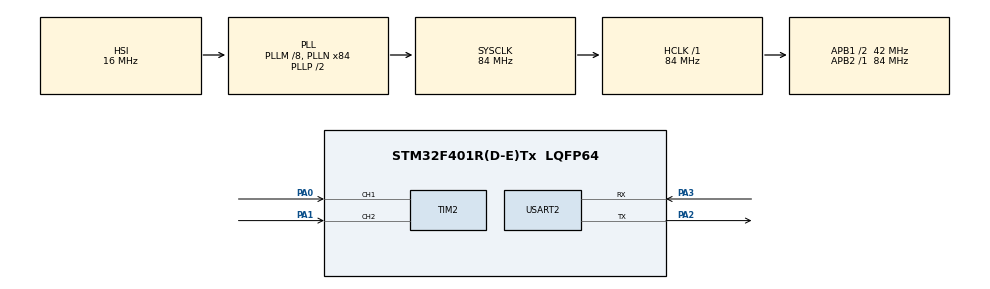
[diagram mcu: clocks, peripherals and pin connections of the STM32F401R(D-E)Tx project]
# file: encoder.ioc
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Mcu.Family=STM32F4
Mcu.Name=STM32F401R(D-E)Tx
Mcu.Package=LQFP64
NVIC.PriorityGroup=NVIC_PRIORITYGROUP_4
PA0-WKUP.Signal=S_TIM2_CH1_ETR
PA1.Signal=S_TIM2_CH2
PA2.Mode=Asynchronous
PA2.Signal=USART2_TX
PA3.Mode=Asynchronous
PA3.Signal=USART2_RX
ProjectManager.HeapSize=0x200
ProjectManager.StackSize=0x400
ProjectManager.TargetToolchain=EWARM V8.50
RCC.48MHZClocksFreq_Value=42000000
RCC.AHBFreq_Value=84000000
RCC.APB1CLKDivider=RCC_HCLK_DIV2
RCC.APB1Freq_Value=42000000
RCC.APB1TimFreq_Value=84000000
RCC.APB2Freq_Value=84000000
RCC.APB2TimFreq_Value=84000000
RCC.CortexFreq_Value=84000000
RCC.HCLKFreq_Value=84000000
RCC.HSE_VALUE=25000000
RCC.HSI_VALUE=16000000
RCC.LSE_VALUE=32768
RCC.PLLM=8
RCC.PLLN=84
RCC.SYSCLKFreq_VALUE=84000000
RCC.SYSCLKSource=RCC_SYSCLKSOURCE_PLLCLK
RCC.VCOOutputFreq_Value=168000000
SH.S_TIM2_CH1_ETR.0=TIM2_CH1,Encoder_Interface
SH.S_TIM2_CH2.0=TIM2_CH2,Encoder_Interface
TIM2.EncoderMode=TIM_ENCODERMODE_TI12
TIM2.IC1Filter=15
TIM2.IC2Filter=15
USART2.VirtualMode=VM_ASYNC
board=custom

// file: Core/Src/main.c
/* Texas A&M University
** Electronic Systems Engineering Technology
** ESET-469 Embedded Real Time Software Development
** Author: Squish Therapy
** File: main.c
** --------
** Real-time optical encoder decoding, state machine, and 100 Hz binary
** telemetry packet generation for the FlexSense rehabilitation device.
*/

#include "main.h"

/* USER CODE BEGIN Includes */
#include <math.h>
#include <stdio.h>
#include <string.h>
#include <strings.h>
/* USER CODE END Includes */

/* USER CODE BEGIN PTD */

/*
** System State Machine enumeration.
** SYS_STATE_IDLE: Awaiting host command; no transmission.
** SYS_STATE_STREAMING: Streaming 24-byte binary telemetry at 100 Hz.
*/
typedef enum { SYS_STATE_IDLE = 0, SYS_STATE_STREAMING = 1 } SystemState_t;

/*
** Packed 24-byte binary telemetry packet structure.
** Little-Endian layout for ARM Cortex-M and x86 host compatibility.
*/
#pragma pack(push, 1)
typedef struct {
  uint8_t preamble[2];   /* Sync bytes: 0xAA, 0x55                        */
  uint32_t timestamp_ms; /* System uptime from HAL_GetTick() in ms        */
  float angle_deg;       /* Joint angle in degrees from rotary encoder    */
  float velocity_deg_s;  /* Filtered angular velocity in degrees/second   */
  float load_cell;       /* Handle load cell force (reserved, 0.0f)       */
  float motor_iq_a;      /* Motor q-axis current in Amps (reserved, 0.0f) */
  uint16_t crc16;        /* CRC-16-CCITT across bytes 0..21               */
} TelemetryPacket_t;
#pragma pack(pop)

/* Compile-time verification of packed structure size */
_Static_assert(sizeof(TelemetryPacket_t) == 24,
               "TelemetryPacket_t must be exactly 24 bytes!");

/* USER CODE END PTD */

/* USER CODE BEGIN PD */
#define ENCODER_CPR 2400 /* Counts per revolution (4X mode on 600 PPR) */
#define DEG_PER_COUNT (360.0f / (float)ENCODER_CPR)
#define SERIAL_INTERVAL_MS 10  /* Telemetry interval in ms (100 Hz stream)   */
#define VEL_WINDOW_SIZE 5      /* 5 taps = 40 ms window for smooth derivative */
#define VEL_FILTER_ALPHA 0.25f /* EMA filter coefficient for velocity         */
#define VEL_DEADBAND_DEG_S 0.2f /* Velocity cutoff threshold to snap to zero  */
#define PKT_PREAMBLE_0 0xAA /* First sync byte of telemetry frame         */
#define PKT_PREAMBLE_1 0x55 /* Second sync byte of telemetry frame        */
#define PKT_SIZE_BYTES 24   /* Total binary packet size in bytes          */
#define CMD_BUF_SIZE 32     /* UART ASCII command buffer capacity         */
#define TX_BUF_SIZE 128     /* UART diagnostic string buffer capacity     */
#define UART_TIMEOUT_MS 10  /* Blocking UART transmit timeout (ms)        */
#define UART_STATUS_TIMEOUT_MS                                                 \
  50 /* Status string UART transmit timeout (ms)   */
/* USER CODE END PD */

TIM_HandleTypeDef htim2;
UART_HandleTypeDef huart2;

/* USER CODE BEGIN PV */
static volatile SystemState_t sys_state = SYS_STATE_IDLE;
static int32_t last_count = 0;
static float last_angle = 0.0f;
static float filtered_velocity = 0.0f;
static uint32_t last_tick = 0;
static char tx_buf[TX_BUF_SIZE];
static char cmd_buf[CMD_BUF_SIZE];
static uint8_t cmd_idx = 0;

/* Circular history buffer for windowed velocity differentiation */
static int32_t pos_history[VEL_WINDOW_SIZE];
static uint32_t time_history[VEL_WINDOW_SIZE];
static uint8_t hist_idx = 0;
static uint8_t hist_count = 0;
/* USER CODE END PV */

void SystemClock_Config(void);
static void MX_GPIO_Init(void);
static void MX_TIM2_Init(void);
static void MX_USART2_UART_Init(void);

/* USER CODE BEGIN PFP */
static void Encoder_Start(void);
static int32_t Encoder_Read(void);
static void Serial_SendLine(const char *str);
static void Process_Serial_Commands(void);
static void Execute_Command(const char *cmd);
static uint16_t Compute_CRC16(const uint8_t *data, size_t length);
static void Velocity_Reset(int32_t initial_count, uint32_t initial_tick);
/* USER CODE END PFP */

/*
** Application entry point.
** Parameters:
**   void
** Return:
**   int (never returns in embedded context)
** Notes:
**   Initializes peripherals, starts encoder, and enters real-time execution
* loop.
*/
int main(void) {
  /* Reset of all peripherals, Initializes the Flash interface and Systick. */
  HAL_Init();

  /* Configure the system clock */
  SystemClock_Config();

  /* Initialize all configured peripherals */
  MX_GPIO_Init();
  MX_TIM2_Init();
  MX_USART2_UART_Init();

  /* USER CODE BEGIN 2 */
  /* Start TIM2 in hardware encoder mode and initialize position to zero */
  Encoder_Start();
  __HAL_TIM_SET_COUNTER(&htim2, 0);

  /* Send startup banner and protocol description */
  Serial_SendLine("\r\n=== STM32F401RE Encoder Binary Protocol Ready ===\r\n");
  Serial_SendLine("Commands: START, STOP, ZERO, STATUS\r\n");
  Serial_SendLine("Packet: 24B [0xAA 0x55, time_u32, ang_f, vel_f, load_f, "
                  "iq_f, crc16_u16]\r\n");

  sys_state = SYS_STATE_IDLE;
  last_tick = HAL_GetTick();
  Velocity_Reset(0, last_tick);
  /* USER CODE END 2 */

  /* Infinite loop */
  /* USER CODE BEGIN WHILE */
  while (1) /* infinite loop */
  {
    /* USER CODE END WHILE */

    /* USER CODE BEGIN 3 */
    /* 1. Process any incoming serial commands from GUI / host */
    Process_Serial_Commands();

    /* 2. Periodic telemetry state machine tick */
    uint32_t now = HAL_GetTick();

    if ( (now - last_tick) >= SERIAL_INTERVAL_MS )
    {
      int32_t count = Encoder_Read();
      float angle = (float)count * DEG_PER_COUNT;

      /* Update circular history buffer for windowed velocity differentiation */
      pos_history[hist_idx] = count;
      time_history[hist_idx] = now;
      hist_idx = (uint8_t)( (hist_idx + 1) % VEL_WINDOW_SIZE );
      if ( hist_count < VEL_WINDOW_SIZE )
      {
        hist_count++;
      }

      if ( hist_count > 1 )
      {
        /* Oldest sample is at current hist_idx when buffer full, else at index 0 */
        uint8_t oldest_idx = (hist_count < VEL_WINDOW_SIZE) ? 0 : hist_idx;
        int32_t delta_count = count - pos_history[oldest_idx];
        float dt = (float)(now - time_history[oldest_idx]) / 1000.0f;

        if ( dt > 0.0f )
        {
          float raw_velocity = ( (float)delta_count * DEG_PER_COUNT ) / dt;

          /* Exponential Moving Average low-pass filter for smooth velocity */
          filtered_velocity += VEL_FILTER_ALPHA * (raw_velocity - filtered_velocity);

          /* Snap cleanly to zero when position is stationary across window */
          if ( (delta_count == 0) && (fabsf(filtered_velocity) < VEL_DEADBAND_DEG_S) )
          {
            filtered_velocity = 0.0f;
          }
        }
      }

      /* In STREAMING state, transmit packed 24-byte binary telemetry packet */
      if ( sys_state == SYS_STATE_STREAMING )
      {
        TelemetryPacket_t pkt;
        pkt.preamble[0] = PKT_PREAMBLE_0;
        pkt.preamble[1] = PKT_PREAMBLE_1;
        pkt.timestamp_ms = now;
        pkt.angle_deg = angle;
        pkt.velocity_deg_s = filtered_velocity;
        pkt.load_cell = 0.0f;
        pkt.motor_iq_a = 0.0f;
        pkt.crc16 = Compute_CRC16((const uint8_t *)&pkt, sizeof(pkt) - sizeof(pkt.crc16));

        HAL_UART_Transmit(&huart2, (uint8_t *)&pkt, (uint16_t)sizeof(pkt), UART_TIMEOUT_MS);
      }

      last_count = count;
      last_angle = angle;
      last_tick = now;
    } /* if ( (now - last_tick) >= SERIAL_INTERVAL_MS ) */
  } /* while ( 1 ) */
  /* USER CODE END 3 */
} /* main() */

/*
** System Clock Configuration.
** Parameters:
**   void
** Return:
**   void
** Notes:
**   Configures HCLK to 84 MHz via PLL with HSI oscillator.
*/
void SystemClock_Config(void) {
  RCC_OscInitTypeDef RCC_OscInitStruct = {0};
  RCC_ClkInitTypeDef RCC_ClkInitStruct = {0};

  __HAL_RCC_PWR_CLK_ENABLE();
  __HAL_PWR_VOLTAGESCALING_CONFIG(PWR_REGULATOR_VOLTAGE_SCALE2);

  RCC_OscInitStruct.OscillatorType = RCC_OSCILLATORTYPE_HSI;
  RCC_OscInitStruct.HSIState = RCC_HSI_ON;
  RCC_OscInitStruct.HSICalibrationValue = RCC_HSICALIBRATION_DEFAULT;
  RCC_OscInitStruct.PLL.PLLState = RCC_PLL_ON;
  RCC_OscInitStruct.PLL.PLLSource = RCC_PLLSOURCE_HSI;
  RCC_OscInitStruct.PLL.PLLM = 8;
  RCC_OscInitStruct.PLL.PLLN = 84;
  RCC_OscInitStruct.PLL.PLLP = RCC_PLLP_DIV2;
  RCC_OscInitStruct.PLL.PLLQ = 4;
  if (HAL_RCC_OscConfig(&RCC_OscInitStruct) != HAL_OK) {
    Error_Handler();
  }

  RCC_ClkInitStruct.ClockType = RCC_CLOCKTYPE_HCLK | RCC_CLOCKTYPE_SYSCLK |
                                RCC_CLOCKTYPE_PCLK1 | RCC_CLOCKTYPE_PCLK2;
  RCC_ClkInitStruct.SYSCLKSource = RCC_SYSCLKSOURCE_PLLCLK;
  RCC_ClkInitStruct.AHBCLKDivider = RCC_SYSCLK_DIV1;
  RCC_ClkInitStruct.APB1CLKDivider = RCC_HCLK_DIV2;
  RCC_ClkInitStruct.APB2CLKDivider = RCC_HCLK_DIV1;

  if (HAL_RCC_ClockConfig(&RCC_ClkInitStruct, FLASH_LATENCY_2) != HAL_OK) {
    Error_Handler();
  }
} /* SystemClock_Config() */

/*
** TIM2 Hardware Quadrature Encoder Initialization.
** Parameters:
**   void
** Return:
**   void
** Notes:
**   Configures TIM2 in 4X encoder mode on TI1 and TI2 with input filtering.
*/
static void MX_TIM2_Init(void) {
  TIM_Encoder_InitTypeDef sConfig = {0};
  TIM_MasterConfigTypeDef sMasterConfig = {0};

  htim2.Instance = TIM2;
  htim2.Init.Prescaler = 0;
  htim2.Init.CounterMode = TIM_COUNTERMODE_UP;
  htim2.Init.Period = 4294967295;
  htim2.Init.ClockDivision = TIM_CLOCKDIVISION_DIV1;
  htim2.Init.AutoReloadPreload = TIM_AUTORELOAD_PRELOAD_DISABLE;
  sConfig.EncoderMode = TIM_ENCODERMODE_TI12;
  sConfig.IC1Polarity = TIM_ICPOLARITY_RISING;
  sConfig.IC1Selection = TIM_ICSELECTION_DIRECTTI;
  sConfig.IC1Prescaler = TIM_ICPSC_DIV1;
  sConfig.IC1Filter = 15;
  sConfig.IC2Polarity = TIM_ICPOLARITY_RISING;
  sConfig.IC2Selection = TIM_ICSELECTION_DIRECTTI;
  sConfig.IC2Prescaler = TIM_ICPSC_DIV1;
  sConfig.IC2Filter = 15;
  if (HAL_TIM_Encoder_Init(&htim2, &sConfig) != HAL_OK) {
    Error_Handler();
  }
  sMasterConfig.MasterOutputTrigger = TIM_TRGO_RESET;
  sMasterConfig.MasterSlaveMode = TIM_MASTERSLAVEMODE_DISABLE;
  if (HAL_TIMEx_MasterConfigSynchronization(&htim2, &sMasterConfig) != HAL_OK) {
    Error_Handler();
  }
} /* MX_TIM2_Init() */

/*
** USART2 Initialization.
** Parameters:
**   void
** Return:
**   void
** Notes:
**   Configures USART2 at 115200 baud, 8N1 over ST-Link Virtual COM Port.
*/
static void MX_USART2_UART_Init(void) {
  huart2.Instance = USART2;
  huart2.Init.BaudRate = 115200;
  huart2.Init.WordLength = UART_WORDLENGTH_8B;
  huart2.Init.StopBits = UART_STOPBITS_1;
  huart2.Init.Parity = UART_PARITY_NONE;
  huart2.Init.Mode = UART_MODE_TX_RX;
  huart2.Init.HwFlowCtl = UART_HWCONTROL_NONE;
  huart2.Init.OverSampling = UART_OVERSAMPLING_16;
  if (HAL_UART_Init(&huart2) != HAL_OK) {
    Error_Handler();
  }
} /* MX_USART2_UART_Init() */

/*
** GPIO Port Clock Initialization.
** Parameters:
**   void
** Return:
**   void
*/
static void MX_GPIO_Init(void) {
  __HAL_RCC_GPIOA_CLK_ENABLE();
} /* MX_GPIO_Init() */

/* USER CODE BEGIN 4 */

/*
** Start TIM2 in Hardware Encoder Mode on both channels (TI1 and TI2).
** Parameters:
**   void
** Return:
**   void
*/
static void Encoder_Start(void) {
  HAL_TIM_Encoder_Start(&htim2, TIM_CHANNEL_ALL);
} /* Encoder_Start() */

/*
** Read current 32-bit hardware encoder counter value.
** Parameters:
**   void
** Return:
**   int32_t - Signed 32-bit encoder tick count.
*/
static int32_t Encoder_Read(void) {
  return (int32_t)__HAL_TIM_GET_COUNTER(&htim2);
} /* Encoder_Read() */

/*
** Transmit null-terminated string over USART2.
** Parameters:
**   str - pointer to string buffer
** Return:
**   void
*/
static void Serial_SendLine(const char *str) {
  HAL_UART_Transmit(&huart2, (const uint8_t *)str, (uint16_t)strlen(str), 100);
} /* Serial_SendLine() */

/*
** Non-blocking check for incoming characters on USART2.
** Buffers characters until newline/carriage-return, then dispatches command.
** Parameters:
**   void
** Return:
**   void
*/
static void Process_Serial_Commands(void) {
  /* Clear overrun error flag if active */
  if (__HAL_UART_GET_FLAG(&huart2, UART_FLAG_ORE)) {
    __HAL_UART_CLEAR_OREFLAG(&huart2);
  }

  while (__HAL_UART_GET_FLAG(&huart2, UART_FLAG_RXNE)) {
    char c = (char)(huart2.Instance->DR & 0xFF);

    if ((c == '\r') || (c == '\n')) {
      if (cmd_idx > 0) {
        cmd_buf[cmd_idx] = '\0';
        Execute_Command(cmd_buf);
        cmd_idx = 0;
      }
    } else {
      if (cmd_idx < (CMD_BUF_SIZE - 1)) {
        /* Ignore leading whitespace */
        if (!((cmd_idx == 0) && ((c == ' ') || (c == '\t')))) {
          cmd_buf[cmd_idx++] = c;
        }
      } else {
        cmd_idx = 0; /* Buffer overflow protection: reset index */
      }
    }
  } /* while ( RXNE ) */
} /* Process_Serial_Commands() */

/*
** State machine command dispatcher.
** Parameters:
**   cmd - pointer to ASCII command string
** Return:
**   void
** Notes:
**   Supported commands: START, STOP, ZERO, STATUS.
*/
static void Execute_Command(const char *cmd)
{
  if ( (strcasecmp(cmd, "START") == 0) || (strcasecmp(cmd, "S") == 0) )
  {
    sys_state = SYS_STATE_STREAMING;
    last_tick = HAL_GetTick();
    Velocity_Reset(Encoder_Read(), last_tick);
    Serial_SendLine("ACK:START\r\n");
  }
  else if ( (strcasecmp(cmd, "STOP") == 0) || (strcasecmp(cmd, "P") == 0) )
  {
    sys_state = SYS_STATE_IDLE;
    Serial_SendLine("ACK:STOP\r\n");
  }
  else if ( (strcasecmp(cmd, "ZERO") == 0) || (strcasecmp(cmd, "Z") == 0) )
  {
    __HAL_TIM_SET_COUNTER(&htim2, 0);
    last_count = 0;
    last_angle = 0.0f;
    Velocity_Reset(0, HAL_GetTick());
    Serial_SendLine("ACK:ZERO\r\n");
  } else if ((strcasecmp(cmd, "STATUS") == 0) || (strcasecmp(cmd, "?") == 0)) {
    int len = snprintf(
        tx_buf, sizeof(tx_buf), "STATUS:STATE=%s,TICKS=%ld,ANGLE=%.2f\r\n",
        (sys_state == SYS_STATE_STREAMING) ? "STREAMING" : "IDLE",
        (long)Encoder_Read(), (float)Encoder_Read() * DEG_PER_COUNT);
    if (len > 0) {
      HAL_UART_Transmit(&huart2, (const uint8_t *)tx_buf, (uint16_t)len,
                        UART_STATUS_TIMEOUT_MS);
    }
  } else {
    Serial_SendLine("ERR:UNKNOWN_CMD\r\n");
  }
} /* Execute_Command() */

/*
** Compute CRC-16-CCITT (polynomial 0x1021, initial value 0xFFFF).
** Parameters:
**   data   - pointer to byte buffer
**   length - number of bytes to checksum
** Return:
**   uint16_t - calculated 16-bit CRC checksum
*/
static uint16_t Compute_CRC16(const uint8_t *data, size_t length) {
  uint16_t crc = 0xFFFF;

  for (size_t i = 0; i < length; i++) {
    crc ^= ((uint16_t)data[i] << 8);

    for (uint8_t bit = 0; bit < 8; bit++) {
      if (crc & 0x8000) {
        crc = (crc << 1) ^ 0x1021;
      } else {
        crc = crc << 1;
      }
    } /* for bit */
  } /* for i */

  return crc;
} /* Compute_CRC16() */

/*
** Reset velocity estimation ring buffer and filtered state.
** Parameters:
**   initial_count - starting encoder count to pre-fill
**   initial_tick  - timestamp of reset in milliseconds
** Return:
**   void
*/
static void Velocity_Reset(int32_t initial_count, uint32_t initial_tick)
{
  for ( uint8_t i = 0; i < VEL_WINDOW_SIZE; i++ )
  {
    pos_history[i] = initial_count;
    time_history[i] = initial_tick;
  }
  hist_idx = 0;
  hist_count = 0;
  filtered_velocity = 0.0f;
} /* Velocity_Reset() */

/* USER CODE END 4 */

/*
** Error Handler executed on peripheral initialization failure.
** Parameters:
**   void
** Return:
**   void
*/
void Error_Handler(void) {
  /* USER CODE BEGIN Error_Handler_Debug */
  __disable_irq();
  while (1) /* trap execution on fatal error */
  {
  }
  /* USER CODE END Error_Handler_Debug */
} /* Error_Handler() */
